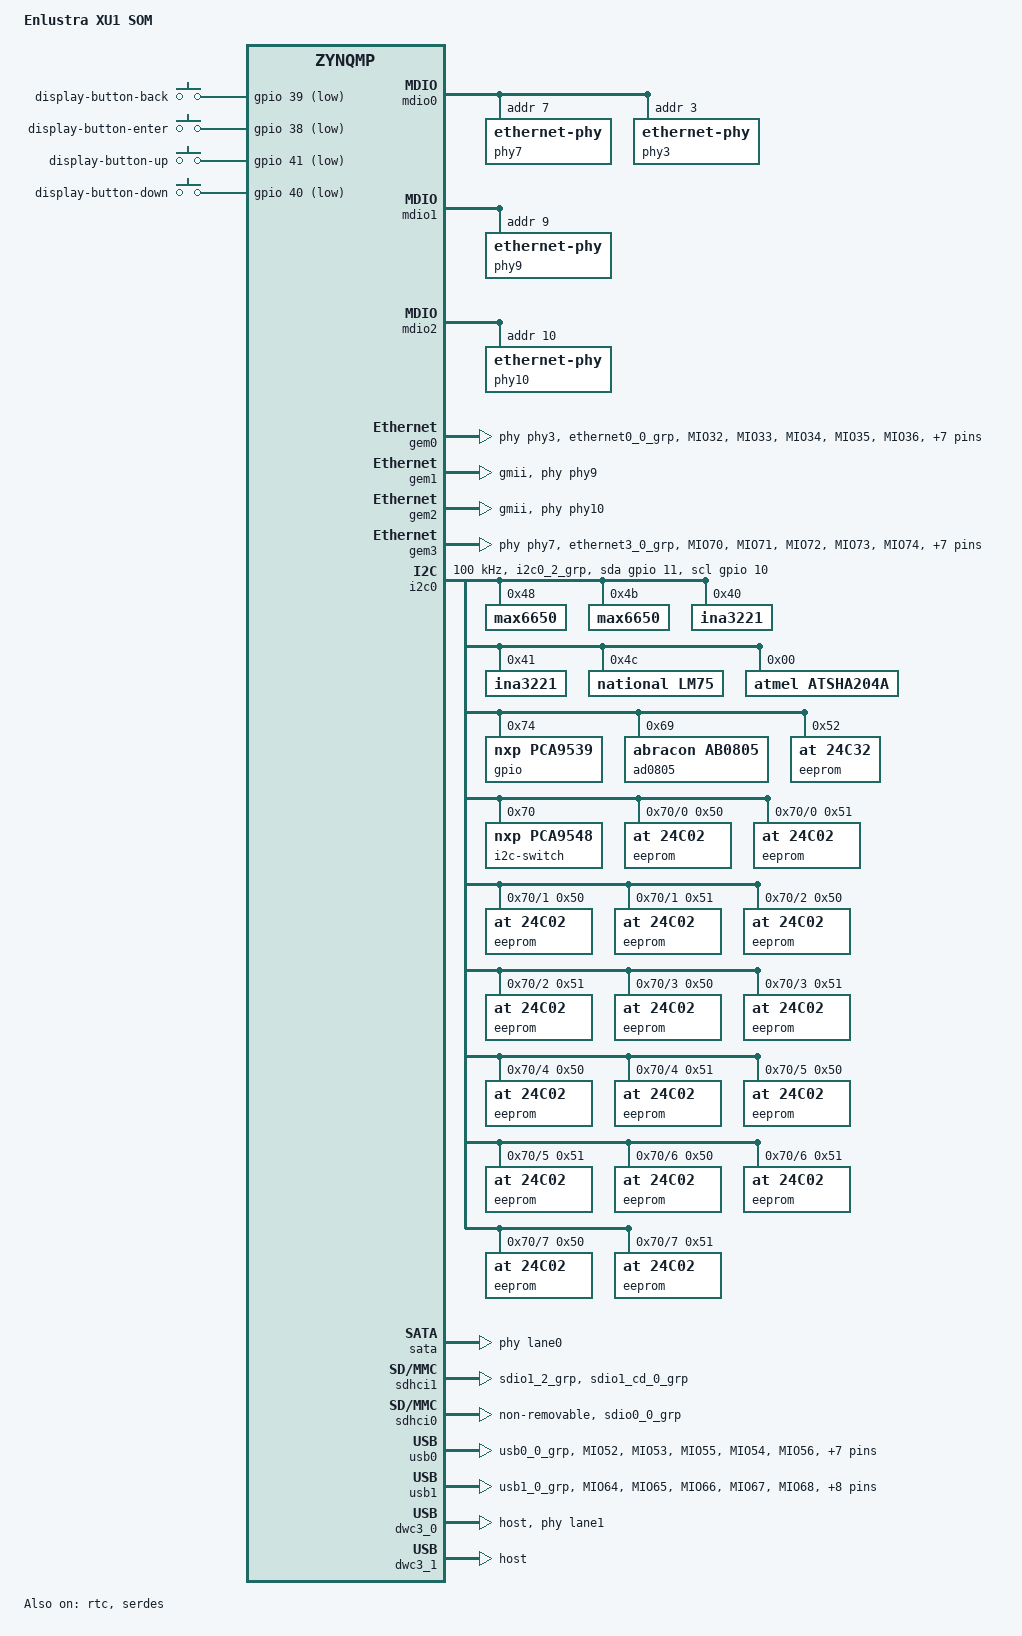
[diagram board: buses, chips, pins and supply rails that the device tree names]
/include/ "system-conf.dtsi"
/ {
	model = "Enlustra XU1 SOM";
	compatible = "xlnx,zynqmp";

	aliases {
		ethernet0 = &gem0;
		ethernet1 = &gem3;
		ethernet2 = &gem1;
		ethernet3 = &gem2;
                mmc0 = &sdhci1;
                mmc1 = &sdhci0;
                spi0 = &qspi;
	};

	mdio0: mdio@ff0b0000 {
		compatible = "cdns,macb-mdio";
		reg = <0x0 0xff0b0000 0x0 0x1000>;
		clocks = <&clk 45>, <&clk 45>, <&clk 49>;
		clock-names = "pclk", "tx_clk", "hclk";
		#address-cells = <1>;
		#size-cells = <0>;
		phy7: ethernet-phy@7 {
			reg = <7>;
			txc-skew-ps = <1800>;
			txen-skew-ps = <420>;
			txd0-skew-ps = <420>;
			txd1-skew-ps = <420>;
			txd2-skew-ps = <420>;
			txd3-skew-ps = <420>;
			rxc-skew-ps = <900>;
			rxdv-skew-ps = <420>;
			rxd0-skew-ps = <420>;
			rxd1-skew-ps = <420>;
			rxd2-skew-ps = <420>;
			rxd3-skew-ps = <420>;
		};
		phy3: ethernet-phy@3 {
			reg = <3>;
			txc-skew-ps = <1800>;
			txen-skew-ps = <420>;
			txd0-skew-ps = <420>;
			txd1-skew-ps = <420>;
			txd2-skew-ps = <420>;
			txd3-skew-ps = <420>;
			rxc-skew-ps = <900>;
			rxdv-skew-ps = <420>;
			rxd0-skew-ps = <420>;
			rxd1-skew-ps = <420>;
			rxd2-skew-ps = <420>;
			rxd3-skew-ps = <420>;
		};
	};

	mdio1: mdio@ff0c0000 {
		compatible = "cdns,macb-mdio";
		reg = <0x0 0xff0c0000 0x0 0x1000>;
		clocks = <&clk 45>, <&clk 45>, <&clk 49>;
		clock-names = "pclk", "tx_clk", "hclk";
		#address-cells = <1>;
		#size-cells = <0>;
		phy9: ethernet-phy@9 {
			reg = <9>;
			xlnx,phy-type = <4>;
		};
	};
	mdio2: mdio@ff0d0000 {
		compatible = "cdns,macb-mdio";
		reg = <0x0 0xff0d0000 0x0 0x1000>;
		clocks = <&clk 45>, <&clk 45>, <&clk 49>;
		clock-names = "pclk", "tx_clk", "hclk";
		#address-cells = <1>;
		#size-cells = <0>;
		phy10: ethernet-phy@10 {
			reg = <10>;
			xlnx,phy-type = <4>;
		};
	};
};

&gem0 {
	phy-handle = <&phy3>;
	pinctrl-names = "default";
	pinctrl-0 = <&pinctrl_gem0_default>;
};

&gem1 {
	local-mac-address = [02 0a 35 00 02 91];
	phy-mode = "gmii";
	phy-handle = <&phy9>;
};

&gem2 {
	local-mac-address = [02 0a 35 00 02 92];
	phy-mode = "gmii";
	phy-handle = <&phy10>;
};

&gem3 {
	phy-handle = <&phy7>;
	pinctrl-names = "default";
	pinctrl-0 = <&pinctrl_gem3_default>;
};

&uart0 {
	status = "disabled";
};

&uart1 {
	status = "disabled";
};

&i2c0 {
	clock-frequency = <100000>;
	pinctrl-names = "default", "gpio";
	pinctrl-0 = <&pinctrl_i2c0_default>;
	pinctrl-1 = <&pinctrl_i2c0_gpio>;
	scl-gpios = <&gpio 10 0>;
	sda-gpios = <&gpio 11 0>;
        max6650@48 {
                compatible = "max6650";
                reg = <0x48>;
        };
        max6650@4b {
                compatible = "max6650";
                reg = <0x4b>;
        };
	ina3221@40 {
		compatible = "ina3221";
		reg = <0x40>;
	};
	ina3221@41 {
		compatible = "ina3221";
		reg = <0x41>;
	};
	lm75@4c {
		compatible = "national,lm75";
		reg = <0x4c>;
	};
	atsha204a@64 {
		compatible = "atmel,atsha204a";
		reg = <0 0x64>;
	};
        gpio@74 {
                compatible = "nxp,pca9539";
                reg = <0x74 >;
        };
        ad0805@69 {
                compatible = "abracon,ab0805";
		abracon,tc-diode = "schottky";
		abracon,tc-resistor = <6>;
                reg = <0x69 >;
        };
        eeprom@52 {
                compatible = "at,24c32";
                reg = <0x52>;
        };
        i2c-switch@70 {
                compatible = "nxp,pca9548";
                reg = <0x70>;
                i2c@0 {
                        #address-cells = <1>;
                        #size-cells = <0>;
                        reg = <0>;

                        eeprom@50 {
                                compatible = "at,24c02";
                                reg = <0x50>;
                        };
                        eeprom@51 {
                                compatible = "at,24c02";
                                reg = <0x51>;
                        };
                };
                i2c@1 {
                        #address-cells = <1>;
                        #size-cells = <0>;
                        reg = <1>;

                        eeprom@50 {
                                compatible = "at,24c02";
                                reg = <0x50>;
                        };
                        eeprom@51 {
                                compatible = "at,24c02";
                                reg = <0x51>;
                        };
                };
                i2c@2 {
                        #address-cells = <1>;
                        #size-cells = <0>;
                        reg = <2>;

                        eeprom@50 {
                                compatible = "at,24c02";
                                reg = <0x50>;
                        };
                        eeprom@51 {
                                compatible = "at,24c02";
                                reg = <0x51>;
                        };
                };
                i2c@3 {
                        #address-cells = <1>;
                        #size-cells = <0>;
                        reg = <3>;

                        eeprom@50 {
                                compatible = "at,24c02";
                                reg = <0x50>;
                        };
                        eeprom@51 {
                                compatible = "at,24c02";
                                reg = <0x51>;
                        };
                };
                i2c@4 {
                        #address-cells = <1>;
                        #size-cells = <0>;
                        reg = <4>;

                        eeprom@50 {
                                compatible = "at,24c02";
                                reg = <0x50>;
                        };
                        eeprom@51 {
                                compatible = "at,24c02";
                                reg = <0x51>;
                        };
                };
                i2c@5 {
                        #address-cells = <1>;
                        #size-cells = <0>;
                        reg = <5>;

                        eeprom@50 {
                                compatible = "at,24c02";
                                reg = <0x50>;
                        };
                        eeprom@51 {
                                compatible = "at,24c02";
                                reg = <0x51>;
                        };
                };
                i2c@6 {
                        #address-cells = <1>;
                        #size-cells = <0>;
                        reg = <6>;

                        eeprom@50 {
                                compatible = "at,24c02";
                                reg = <0x50>;
                        };
                        eeprom@51 {
                                compatible = "at,24c02";
                                reg = <0x51>;
                        };
                };
                i2c@7 {
                        #address-cells = <1>;
                        #size-cells = <0>;
                        reg = <7>;

                        eeprom@50 {
                                compatible = "at,24c02";
                                reg = <0x50>;
                        };
                        eeprom@51 {
                                compatible = "at,24c02";
                                reg = <0x51>;
                        };
                };
        };

};

&i2c1 {
        status = "disabled";
};

&qspi {
	is-dual = <0>;
        bytemode = <0>;
};

&flash0 {
		compatible = "s25fl512s";
		reg = <0x0>;
		spi-tx-bus-width = <1>;
		spi-rx-bus-width = <4>;
		spi-max-frequency = <50000000>;
};

&rtc {
	status = "okay";
};

&sata {
	phy-names = "sata-phy";
	phys = <&lane0 1 0 0 150000000>;
	/delete-property/iommus;
};

/* SD1 with level shifter */
&sdhci1 {
	pinctrl-names = "default";
	pinctrl-0 = <&pinctrl_sdhci1_default>;
	xlnx,mio_bank = <1>;
        nvmem-cells = <&soc_revision>;
	nvmem-cell-names = "soc_revision";
	no-1-8-v;
};

&sdhci0 {
	pinctrl-names = "default";
	pinctrl-0 = <&pinctrl_sdhci0_default>;
	non-removable;
	disable-wp;
        xlnx,mio_bank = <0x0>;
	nvmem-cells = <&soc_revision>;
	nvmem-cell-names = "soc_revision";
	no-1-8-v;
	is_emmc;
};

&serdes {
	status = "okay";
};

/* ULPI SMSC USB3320 */
&usb0 {
	pinctrl-names = "default";
	pinctrl-0 = <&pinctrl_usb0_default>;
};

&usb1 {
	pinctrl-names = "default";
	pinctrl-0 = <&pinctrl_usb1_default>;
};

&dwc3_0 {
	status = "okay";
	dr_mode = "host";
	snps,usb3_lpm_capable;
	phy-names = "usb3-phy";
	phys = <&lane1 4 0 2 100000000>;
};

&dwc3_1 {
	dr_mode = "host";
	interrupts = <0 70 4>, <0 74 4>, <0 76 4>;
	maximum-speed = "high-speed";
};

&cpu_opp_table {
	opp00 {
		opp-hz = /bits/ 64 <1499999985>;
		opp-microvolt = <1000000>;
		clock-latency-ns = <500000>;
	};

	opp01 {
		opp-hz = /bits/ 64 <799999983>;
		opp-microvolt = <1000000>;
		clock-latency-ns = <500000>;
	};

	opp02 {
		opp-hz = /bits/ 64 <499999995>;
		opp-microvolt = <1000000>;
		clock-latency-ns = <500000>;
	};

	opp03 {
		opp-hz = /bits/ 64 <379999996>;
		opp-microvolt = <1000000>;
		clock-latency-ns = <500000>;
	};

	opp04 {
		opp-hz = /bits/ 64 <299999997>;
		opp-microvolt = <1000000>;
		clock-latency-ns = <500000>;
	};
};

&SFP_axi_gpio_0 {
	status = "disabled";
};

&Version_axi_gpio_0 {
	status = "disabled";
};

&pinctrl0 {
	status = "okay";

	pinctrl_i2c0_default: i2c0-default {
		mux {
			groups = "i2c0_2_grp";
			function = "i2c0";
		};

		conf {
			groups = "i2c0_2_grp";
			bias-pull-up;
			slew-rate = <1>;
			io-standard = <1>;
		};
	};

	pinctrl_i2c0_gpio: i2c0-gpio {
		mux {
			groups = "gpio0_10_grp", "gpio0_11_grp";
			function = "gpio0";
		};

		conf {
			groups = "gpio0_10_grp", "gpio0_11_grp";
			slew-rate = <1>;
			io-standard = <1>;
		};
	};


	pinctrl_usb0_default: usb0-default {
		mux {
			groups = "usb0_0_grp";
			function = "usb0";
		};

		conf {
			groups = "usb0_0_grp";
			slew-rate = <1>;
			io-standard = <1>;
		};

		conf-rx {
			pins = "MIO52", "MIO53", "MIO55";
			bias-high-impedance;
		};

		conf-tx {
			pins = "MIO54", "MIO56", "MIO57", "MIO58", "MIO59",
				   "MIO60", "MIO61", "MIO62", "MIO63";
			bias-disable;
		};
	};

	pinctrl_usb1_default: usb1-default {
		mux {
			groups = "usb1_0_grp";
			function = "usb1";
		};

		conf {
			groups = "usb1_0_grp";
			slew-rate = <1>;
			io-standard = <1>;
		};

		conf-rx {
			pins = "MIO64", "MIO65", "MIO66";
			bias-high-impedance;
		};

		conf-tx {
			pins = "MIO67", "MIO68", "MIO69", "MIO70", "MIO71",
				   "MIO72", "MIO73", "MIO74", "MIO75";
			bias-disable;
		};
		conf-phy-reset {
			pins = "MIO23";
			bias-high-impedance;
		};
	};

	pinctrl_gem3_default: gem3-default {
		mux {
			function = "ethernet3";
			groups = "ethernet3_0_grp";
		};

		conf {
			groups = "ethernet3_0_grp";
			slew-rate = <1>;
			io-standard = <1>;
		};

		conf-rx {
			pins = "MIO70", "MIO71", "MIO72", "MIO73", "MIO74",
									"MIO75";
			bias-high-impedance;
			low-power-disable;
		};

		conf-tx {
			pins = "MIO64", "MIO65", "MIO66", "MIO67", "MIO68",
									"MIO69";
			bias-disable;
			low-power-enable;
		};
	};

	pinctrl_gem0_default: gem0-default {
		mux {
			function = "ethernet0";
			groups = "ethernet0_0_grp";
		};

		conf {
			groups = "ethernet0_0_grp";
			slew-rate = <1>;
			io-standard = <1>;
		};

		conf-rx {
			pins = "MIO32", "MIO33", "MIO34", "MIO35", "MIO36",
									"MIO37";
			bias-high-impedance;
			low-power-disable;
		};

		conf-tx {
			pins = "MIO26", "MIO27", "MIO28", "MIO29", "MIO30",
									"MIO31";
			bias-disable;
			low-power-enable;
		};
	};

	pinctrl_sdhci0_default: sdhci0-default {
		mux {
			groups = "sdio0_0_grp";
			function = "sdio0";
		};

		conf {
			groups = "sdio0_0_grp";
			slew-rate = <1>;
			io-standard = <1>;
			bias-disable;
		};
	};

	pinctrl_sdhci1_default: sdhci1-default {
		mux {
			groups = "sdio1_2_grp";
			function = "sdio1";
		};

		conf {
			groups = "sdio1_2_grp";
			slew-rate = <1>;
			io-standard = <1>;
			bias-disable;
		};

		mux-cd {
			groups = "sdio1_cd_0_grp";
			function = "sdio1_cd";
		};

		conf-cd {
			groups = "sdio1_cd_0_grp";
			bias-high-impedance;
			bias-pull-up;
			slew-rate = <1>;
			io-standard = <1>;
		};

	};
};


/ {
	/* 
	 * Memory region reserved for:
	 * -- R5 firmware; 
	 * -- A53-R5 shared memory buffer.
	 */
        reserved-memory {
                #address-cells = <2>;
                #size-cells = <2>;
                ranges;
                rproc_reserved_0: rproc@3e000000 {
                        no-map;
                        reg = <0x0 0x3e000000 0x0 0x2000000>;
                };
		reserved: buffer@40000000 {
                        /* reserved memory for Arm Trusted Firmware */
			no-map;
			reg = <0x0 0x40000000 0x0 0x00400000>;
		};
                rproc_reserved_1: rproc@3c000000 {
                        no-map;
                        reg = <0x0 0x3c000000 0x0 0x2000000>;
                };
        };
	reserved-driver@40000000 {
		compatible = "xlnx,reserved-memory";
		memory-region = <&reserved>;
	};
	/*
	 * Entries used by libmetal to access:
	 * -- shared memory buffer;
	 * -- inter-processor interrupt registers.
	 */	
        amba {
                /*
                vring: vring@0 {
                        compatible = "vring_uio";
                        reg = <0x0 0x3ed40000 0x0 0x40000>;
                };
                */

                shm0: shm@0 {
                        compatible = "shm_uio";
                        reg = <0x0 0x3f000000 0x0 0x1000000>;
                };
                shm1: shm@1 {
                        compatible = "shm_uio";
                        reg = <0x0 0x3d000000 0x0 0x1000000>;
                };

                ipi0: ipi@0 {
                        compatible = "ipi_uio";
                        reg = <0x0 0xff340000 0x0 0x1000>;
                        interrupt-parent = <&gic>;
                        interrupts = <0 29 4>;
                };
                ipi1: ipi@1 {
                        compatible = "ipi_uio";
                        reg = <0x0 0xff350000 0x0 0x1000>;
                        interrupt-parent = <&gic>;
                        interrupts = <0 30 4>;
                };
        };
};



/* zynqmp-r5-remoteproc driver. */

/{
       power-domains {
                pd_r5_0: pd_r5_0 {
                        #power-domain-cells = <0x0>;
                        pd-id = <0x7>;
                };
                pd_r5_1: pd_r5_1 {
                        #power-domain-cells = <0x0>;
                        pd-id = <0x8>;
                };
                pd_tcm_0_a: pd_tcm_0_a {
                        #power-domain-cells = <0x0>;
                        pd-id = <0xf>;
                };
                pd_tcm_0_b: pd_tcm_0_b {
                        #power-domain-cells = <0x0>;
                        pd-id = <0x10>;
                };
                pd_tcm_1_a: pd_tcm_1_a {
                        #power-domain-cells = <0x0>;
                        pd-id = <0x11>;
                };
                pd_tcm_1_b: pd_tcm_1_b {
                        #power-domain-cells = <0x0>;
                        pd-id = <0x12>;
                };
        };

        amba {
                r5_0_tcm_a: tcm@ffe00000 {
                        compatible = "mmio-sram";
                        reg = <0x0 0xFFE00000 0x0 0x10000>;
                        pd-handle = <&pd_tcm_0_a>;
                };
                r5_0_tcm_b: tcm@ffe20000 {
                        compatible = "mmio-sram";
                        reg = <0x0 0xFFE20000 0x0 0x10000>;
                        pd-handle = <&pd_tcm_0_b>;
                };
                r5_1_tcm_a: tcm@ffe90000 {
                        compatible = "mmio-sram";
                        reg = <0x0 0xFFE90000 0x0 0x10000>;
                        pd-handle = <&pd_tcm_1_a>;
                };
                r5_1_tcm_b: tcm@ffeb0000 {
                        compatible = "mmio-sram";
                        reg = <0x0 0xFFEB0000 0x0 0x10000>;
                        pd-handle = <&pd_tcm_1_b>;
                };
                elf_ddr_0: ddr@3ed00000 {
                        compatible = "mmio-sram";
                        reg = <0x0 0x3e000000 0x0 0x1000000>;
                };
                elf_ddr_1: ddr@3c000000 {
                        compatible = "mmio-sram";
                        reg = <0x0 0x3c000000 0x0 0x1000000>;
                };
                test_r5_0: zynqmp_r5_rproc@0 {
                        compatible = "xlnx,zynqmp-r5-remoteproc-1.0";
                        reg = <0x0 0xff9a0100 0x0 0x100>,
                              /* <0x0 0xff340000 0x0 0x100>, */
                              <0x0 0xff9a0000 0x0 0x100>;
                        reg-names = "rpu_base",
                                    /* "ipi", */
                                    "rpu_glbl_base";
                        dma-ranges;
                        core_conf = "split0";
                        srams = <&r5_0_tcm_a &r5_0_tcm_b &elf_ddr_0>;
                        pd-handle = <&pd_r5_0>;
                        /*
			interrupt-parent = <&gic>;
                        interrupts = <0 29 4>;
			*/
                };
                test_r5_1: zynqmp_r5_rproc@1 {
                        compatible = "xlnx,zynqmp-r5-remoteproc-1.0";
                        reg = <0x0 0xff9a0200 0x0 0x100>,
                              /* <0x0 0xff340000 0x0 0x100>, */
                              <0x0 0xff9a0000 0x0 0x100>;
                        reg-names = "rpu_base",
                                    /* "ipi", */
                                    "rpu_glbl_base";
                        dma-ranges;
                        core_conf = "split1";
                        srams = <&r5_1_tcm_a &r5_1_tcm_b &elf_ddr_1>;
                        pd-handle = <&pd_r5_1>;
                        /*
			interrupt-parent = <&gic>;
                        interrupts = <0 29 4>;
			*/
                };
        };
};


/* 
 * Bind the display buttons to the 'gpio-keys' driver.
 */

#include <dt-bindings/input/input.h>
#include <dt-bindings/gpio/gpio.h>
&amba {
        gpio-keys {
                compatible = "gpio-keys";
                #address-cells = <1>;
                #size-cells = <0>;
                autorepeat;

                display-button-back {
                        label = "display-button-back";
                        gpios = <&gpio 39 GPIO_ACTIVE_LOW>;
                        linux,input-type = <EV_KEY>;
                        linux,code = <KEY_BACKSPACE>;
                };

                display-button-enter {
                        label = "display-button-enter";
                        gpios = <&gpio 38 GPIO_ACTIVE_LOW>;
                        linux,input-type = <EV_KEY>;
                        linux,code = <KEY_ENTER>;
                };

                display-button-up {
                        label = "display-button-up";
                        gpios = <&gpio 41 GPIO_ACTIVE_LOW>;
                        linux,input-type = <EV_KEY>;
                        linux,code = <KEY_UP>;
                };

                display-button-down {
                        label = "display-button-down";
                        gpios = <&gpio 40 GPIO_ACTIVE_LOW>;
                        linux,input-type = <EV_KEY>;
                        linux,code = <KEY_DOWN>;
                };
        };
};


/*
 * Since we instantiate the SYSMON primitive
 * in the PL, the PS has no access to it.
 */
&ams_pl {
	status = "disabled";
};

&perf_monitor_ocm {
	status = "disabled";
};

/*
 * SMMU is used by jailhouse
 */
&smmu {
	status = "disabled";
};

